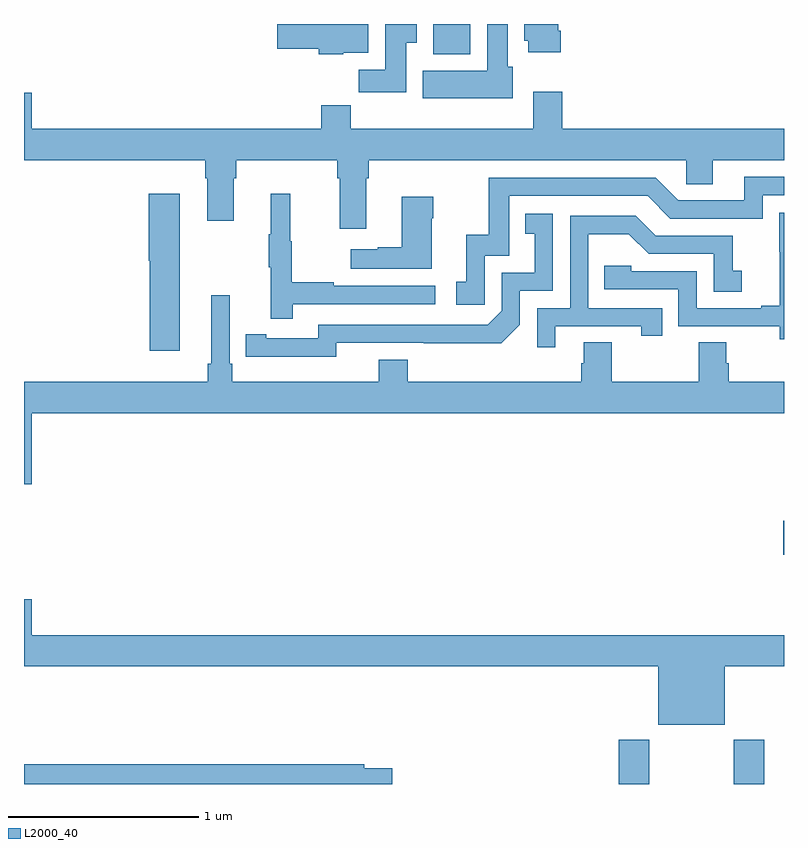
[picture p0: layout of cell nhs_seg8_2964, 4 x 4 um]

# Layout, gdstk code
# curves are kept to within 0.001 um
import gdstk
lib = gdstk.Library(unit=1e-6, precision=1e-09)
def R(c, l, rs):  # rectangles x0, y0, x1, y1
    for r in rs: c.add(gdstk.rectangle(r[:2], r[2:], *l))
def P(c, l, *ps):  # polygons
    for p in ps: c.add(gdstk.Polygon(p, *l))
L2000_40 = (2000, 40)

nhs_seg8_2964 = lib.new_cell('nhs_seg8_2964')
R(nhs_seg8_2964, L2000_40, [(300.131,1095.9,300.291,1096.132), (300.736,1095.9,300.896,1096.132), (300.996,1097.107,301,1097.285), (299.153,1099.742,299.349,1099.9)])
P(nhs_seg8_2964, L2000_40, [(298.68,1099.748),(298.813,1099.748),(298.813,1099.9),(298.332,1099.9),(298.332,1099.771),(298.55,1099.771),(298.55,1099.742),(298.68,1099.742)],
  [(299.572,1099.674),(299.545,1099.674),(299.545,1099.9),(299.438,1099.9),(299.438,1099.654),(299.099,1099.654),(299.099,1099.508),(299.572,1099.508)],
  [(299.011,1099.801),(299.068,1099.801),(299.068,1099.9),(298.901,1099.9),(298.901,1099.66),(298.762,1099.66),(298.762,1099.542),(299.011,1099.542)],
  [(299.825,1099.864),(299.812,1099.864),(299.812,1099.9),(299.633,1099.9),(299.633,1099.812),(299.654,1099.812),(299.654,1099.752),(299.825,1099.752)],
  [(297.04,1099.537),(297,1099.537),(297,1099.184),(297.953,1099.184),(297.953,1099.088),(297.965,1099.088),(297.965,1098.864),(298.105,1098.864),(298.105,1099.088),(298.118,1099.088),(298.118,1099.184),(298.649,1099.184),(298.649,1099.088),(298.661,1099.088),(298.661,1098.822),(298.801,1098.822),(298.801,1099.088),(298.814,1099.088),(298.814,1099.184),(300.486,1099.184),(300.486,1099.057),(300.625,1099.057),(300.625,1099.184),(301,1099.184),(301,1099.348),(299.834,1099.348),(299.834,1099.543),(299.681,1099.543),(299.681,1099.348),(298.721,1099.348),(298.721,1099.472),(298.565,1099.472),(298.565,1099.348),(297.04,1099.348)],
  [(299.424,1098.681),(299.553,1098.681),(299.553,1098.996),(300.282,1098.996),(300.402,1098.876),(300.888,1098.876),(300.888,1098.999),(301,1098.999),(301,1099.095),(300.791,1099.095),(300.791,1098.972),(300.444,1098.972),(300.324,1099.092),(299.445,1099.092),(299.445,1098.79),(299.327,1098.79),(299.327,1098.543),(299.274,1098.543),(299.274,1098.423),(299.424,1098.423)],
  [(297.82,1099.006),(297.656,1099.006),(297.656,1098.654),(297.662,1098.654),(297.662,1098.18),(297.82,1098.18)],
  [(298.415,1098.426),(299.164,1098.426),(299.164,1098.522),(298.631,1098.522),(298.631,1098.542),(298.408,1098.542),(298.408,1098.756),(298.4,1098.756),(298.4,1099.006),(298.298,1099.006),(298.298,1098.793),(298.287,1098.793),(298.287,1098.619),(298.298,1098.619),(298.298,1098.348),(298.415,1098.348)],
  [(299.146,1098.878),(299.154,1098.878),(299.154,1098.991),(298.988,1098.991),(298.988,1098.725),(298.862,1098.725),(298.862,1098.715),(298.719,1098.715),(298.719,1098.611),(299.146,1098.611)],
  [(301,1098.907),(300.976,1098.907),(300.976,1098.701),(300.977,1098.701),(300.977,1098.418),(300.881,1098.418),(300.881,1098.405),(300.54,1098.405),(300.54,1098.6),(300.195,1098.6),(300.195,1098.627),(300.055,1098.627),(300.055,1098.504),(300.444,1098.504),(300.444,1098.309),(300.978,1098.309),(300.978,1098.241),(301,1098.241)],
  [(298.644,1098.222),(299.512,1098.221),(299.61,1098.318),(299.61,1098.495),(299.784,1098.495),(299.784,1098.901),(299.638,1098.901),(299.638,1098.795),(299.687,1098.795),(299.687,1098.591),(299.514,1098.591),(299.514,1098.39),(299.442,1098.318),(298.548,1098.318),(298.548,1098.246),(298.276,1098.246),(298.276,1098.266),(298.168,1098.266),(298.168,1098.15),(298.644,1098.149)],
  [(299.797,1098.309),(300.248,1098.309),(300.248,1098.258),(300.359,1098.258),(300.359,1098.405),(299.97,1098.405),(299.97,1098.794),(300.184,1098.794),(300.288,1098.69),(300.63,1098.69),(300.63,1098.492),(300.778,1098.492),(300.778,1098.601),(300.729,1098.601),(300.729,1098.786),(300.325,1098.786),(300.22,1098.891),(299.874,1098.891),(299.874,1098.405),(299.7,1098.405),(299.7,1098.198),(299.797,1098.198)],
  [(297.04,1097.852),(301,1097.852),(301,1098.016),(300.71,1098.016),(300.71,1098.114),(300.697,1098.114),(300.697,1098.224),(300.55,1098.224),(300.55,1098.016),(300.093,1098.016),(300.093,1098.224),(299.945,1098.224),(299.945,1098.114),(299.933,1098.114),(299.933,1098.016),(299.021,1098.016),(299.021,1098.133),(298.868,1098.133),(298.868,1098.016),(298.097,1098.016),(298.097,1098.112),(298.083,1098.112),(298.083,1098.472),(297.986,1098.472),(297.986,1098.112),(297.967,1098.112),(297.967,1098.016),(297,1098.016),(297,1097.478),(297.04,1097.478)],
  [(300.688,1096.52),(301,1096.52),(301,1096.684),(297.04,1096.684),(297.04,1096.873),(297,1096.873),(297,1096.52),(300.338,1096.52),(300.338,1096.211),(300.688,1096.211)],
  [(298.937,1095.984),(298.79,1095.984),(298.79,1096.004),(297,1096.004),(297,1095.9),(298.937,1095.9)])

lib.write_gds('nhs_seg8_2964.gds')
